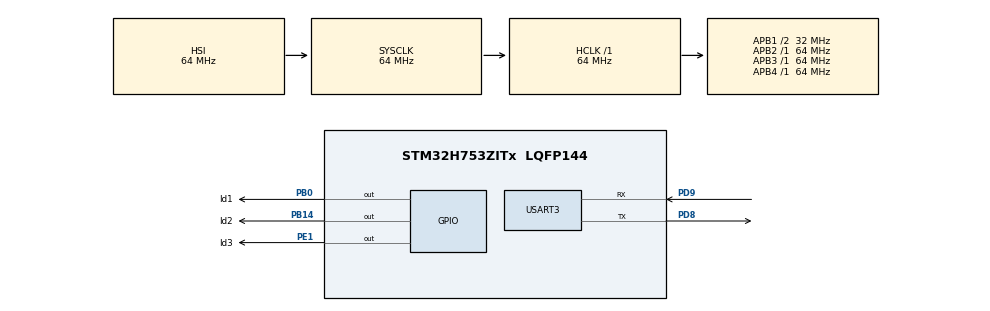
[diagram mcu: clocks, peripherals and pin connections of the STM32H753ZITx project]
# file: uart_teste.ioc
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CORTEX_M7.default_mode_Activation=1
Dma.Request0=USART3_RX
Dma.Request1=USART3_TX
Dma.USART3_RX.0.Direction=DMA_PERIPH_TO_MEMORY
Dma.USART3_RX.0.EventEnable=DISABLE
Dma.USART3_RX.0.FIFOMode=DMA_FIFOMODE_DISABLE
Dma.USART3_RX.0.Instance=DMA1_Stream0
Dma.USART3_RX.0.MemDataAlignment=DMA_MDATAALIGN_BYTE
Dma.USART3_RX.0.MemInc=DMA_MINC_ENABLE
Dma.USART3_RX.0.Mode=DMA_NORMAL
Dma.USART3_RX.0.PeriphDataAlignment=DMA_PDATAALIGN_BYTE
Dma.USART3_RX.0.PeriphInc=DMA_PINC_DISABLE
Dma.USART3_RX.0.Polarity=HAL_DMAMUX_REQ_GEN_RISING
Dma.USART3_RX.0.Priority=DMA_PRIORITY_LOW
Dma.USART3_RX.0.RequestNumber=1
Dma.USART3_RX.0.SignalID=NONE
Dma.USART3_RX.0.SyncEnable=DISABLE
Dma.USART3_RX.0.SyncPolarity=HAL_DMAMUX_SYNC_NO_EVENT
Dma.USART3_RX.0.SyncRequestNumber=1
Dma.USART3_RX.0.SyncSignalID=NONE
Dma.USART3_TX.1.Direction=DMA_MEMORY_TO_PERIPH
Dma.USART3_TX.1.EventEnable=DISABLE
Dma.USART3_TX.1.FIFOMode=DMA_FIFOMODE_DISABLE
Dma.USART3_TX.1.Instance=DMA1_Stream1
Dma.USART3_TX.1.MemDataAlignment=DMA_MDATAALIGN_BYTE
Dma.USART3_TX.1.MemInc=DMA_MINC_ENABLE
Dma.USART3_TX.1.Mode=DMA_NORMAL
Dma.USART3_TX.1.PeriphDataAlignment=DMA_PDATAALIGN_BYTE
Dma.USART3_TX.1.PeriphInc=DMA_PINC_DISABLE
Dma.USART3_TX.1.Polarity=HAL_DMAMUX_REQ_GEN_RISING
Dma.USART3_TX.1.Priority=DMA_PRIORITY_LOW
Dma.USART3_TX.1.RequestNumber=1
Dma.USART3_TX.1.SignalID=NONE
Dma.USART3_TX.1.SyncEnable=DISABLE
Dma.USART3_TX.1.SyncPolarity=HAL_DMAMUX_SYNC_NO_EVENT
Dma.USART3_TX.1.SyncRequestNumber=1
Dma.USART3_TX.1.SyncSignalID=NONE
Mcu.Family=STM32H7
Mcu.Name=STM32H753ZITx
Mcu.Package=LQFP144
NVIC.DMA1_Stream0_IRQn=true\:0\:0\:false\:false\:true\:false\:true\:true
NVIC.DMA1_Stream1_IRQn=true\:0\:0\:false\:false\:true\:false\:true\:true
NVIC.PriorityGroup=NVIC_PRIORITYGROUP_4
NVIC.USART3_IRQn=true\:0\:0\:false\:false\:true\:true\:true\:true
PB0.GPIO_Label=ld1
PB0.Signal=GPIO_Output
PB14.GPIO_Label=ld2
PB14.Signal=GPIO_Output
PD8.Mode=Asynchronous
PD8.Signal=USART3_TX
PD9.Mode=Asynchronous
PD9.Signal=USART3_RX
PE1.GPIO_Label=ld3
PE1.Signal=GPIO_Output
ProjectManager.HeapSize=0x200
ProjectManager.StackSize=0x400
ProjectManager.TargetToolchain=STM32CubeIDE
RCC.ADCFreq_Value=129000000
RCC.APB1Freq_Value=32000000
RCC.APB2Freq_Value=64000000
RCC.APB3Freq_Value=64000000
RCC.APB4Freq_Value=64000000
RCC.CortexFreq_Value=64000000
RCC.D2PPRE1=RCC_APB1_DIV2
RCC.HCLKFreq_Value=64000000
RCC.SYSCLKFreq_VALUE=64000000
RCC.USBFreq_Value=129000000
USART3.VirtualMode-Asynchronous=VM_ASYNC
VP_MEMORYMAP_VS_MEMORYMAP.Mode=CurAppReg
board=custom

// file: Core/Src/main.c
/* USER CODE BEGIN Header */
/**
  ******************************************************************************
  * @file           : main.c
  * @brief          : Main program body
  ******************************************************************************
  * @attention
  *
  * Copyright (c) 2025 STMicroelectronics.
  * All rights reserved.
  *
  * This software is licensed under terms that can be found in the LICENSE file
  * in the root directory of this software component.
  * If no LICENSE file comes with this software, it is provided AS-IS.
  *
  ******************************************************************************
  */
/* USER CODE END Header */
#include "main.h"
#include "dma.h"
#include "memorymap.h"
#include "usart.h"
#include "gpio.h"

/* USER CODE BEGIN Includes */
#include <stdio.h> // Necessário para printf
/* USER CODE END Includes */

/* USER CODE BEGIN PD */
// Tempo de pisca-pisca em milissegundos (meio segundo aceso, meio segundo apagado)
#define BLINK_DELAY_MS 500
/* USER CODE END PD */

/* USER CODE BEGIN PV */
 uint8_t rx_data;
 // Variável de estado para controlar o modo do LED
 volatile uint8_t led_mode = 0; // 0: off, 1: on, 2: blinking
 uint32_t last_blink_time = 0; // Para controle de tempo do pisca-pisca sem bloquear
/* USER CODE END PV */

void SystemClock_Config(void);
static void MPU_Config(void);
/* USER CODE BEGIN PFP */
void Display_Menu(void);
/* USER CODE END PFP */

int main(void)
{

  /* MPU Configuration--------------------------------------------------------*/
  MPU_Config();

  /* MCU Configuration--------------------------------------------------------*/

  /* Reset of all peripherals, Initializes the Flash interface and the Systick. */
  HAL_Init();

  /* Configure the system clock */
  SystemClock_Config();

  /* Initialize all configured peripherals */
  MX_GPIO_Init();
  MX_DMA_Init();
  MX_USART3_UART_Init();
  /* USER CODE BEGIN 2 */
  // Opcional: Acenda ou apague o LED no início para indicar estado inicial
  HAL_GPIO_WritePin(ld2_GPIO_Port, ld2_Pin, GPIO_PIN_RESET); // LED começa apagado
  HAL_GPIO_WritePin(ld3_GPIO_Port, ld3_Pin, GPIO_PIN_RESET); // LED começa apagado
  /* USER CODE END 2 */

  /* Infinite loop */
  while (1)
  {

    /* USER CODE BEGIN 3 */
	    //Display_Menu(); // Exibe o menu a cada iteração do loop principal

	    // Tenta receber entrada do usuário sem bloquear (timeout 100ms)
	    if (HAL_UART_Receive(&huart3, &rx_data, 1, 100) == HAL_OK)
	    {
	      switch (rx_data)
	      {
	        case '1':
	          printf(">> Opcao 1: LED VERMELHO ACESO!\r\n");
	          HAL_GPIO_WritePin(ld2_GPIO_Port, ld2_Pin, GPIO_PIN_SET); // Acende o LED
	          led_mode = 1; // Define o modo LED ON
	          break;

	        case '2':
	          printf(">> Opcao 2: LED VRMELHO APAGADO!\r\n");
	          HAL_GPIO_WritePin(ld2_GPIO_Port, ld2_Pin, GPIO_PIN_RESET); // Apaga o LED
	          led_mode = 0; // Define o modo LED OFF
	          break;

	        case '3':
	          printf(">> Opcao 3: LED VERDE PISCANDO CONTINUAMENTE! Pressione outra tecla para parar.\r\n");
	          led_mode = 2; // Define o modo LED PISCANDO
	          last_blink_time = HAL_GetTick(); // Reseta o timer do pisca-pisca
	          break;

	        case '4':
	        	          printf(">> Opcao 1: LED LARANJA ACESO!\r\n");
	        	          HAL_GPIO_WritePin(ld3_GPIO_Port, ld3_Pin, GPIO_PIN_SET); // Acende o LED
	        	          led_mode = 1; // Define o modo LED ON
	        	          break;

	        	  case '5':
	        	          printf(">> Opcao 2: LED LARANJA APAGADO!\r\n");
	        	          HAL_GPIO_WritePin(ld3_GPIO_Port, ld3_Pin, GPIO_PIN_RESET); // Apaga o LED
	        	          led_mode = 0; // Define o modo LED OFF
	        	          break;

	        	  case '6':
	        	              printf(">> Opcao 6: LED VERDE APAGADO E PISCA-PISCA INTERROMPIDO!\r\n");
	        	              HAL_GPIO_WritePin(ld1_GPIO_Port, ld1_Pin, GPIO_PIN_RESET); // Garante que o LED verde está apagado
	        	              led_mode = 0; // Sai do modo pisca-pisca (define para um valor que não é 2)
	        	              break;

	        default:
	          printf(">> Opcao invalida. Tente novamente.\r\n");
	          // Se uma opção inválida for digitada, certifique-se de que o LED não fique preso em um estado de piscar
	          if (led_mode == 2) {
	             HAL_GPIO_WritePin(ld2_GPIO_Port, ld2_Pin, GPIO_PIN_RESET); // Apaga o LED
	             led_mode = 0; // Sai do modo pisca-pisca
	             printf(">> Modo pisca-pisca interrompido por opcao invalida.\r\n");
	          }
	          break;
	      }
	    }

        // Lógica para piscar o LED se o modo for 2
        if (led_mode == 2) {
            if (HAL_GetTick() - last_blink_time >= BLINK_DELAY_MS) {
                HAL_GPIO_TogglePin(ld1_GPIO_Port, ld1_Pin);// Inverte o estado do LED
                last_blink_time = HAL_GetTick();            // Atualiza o tempo da última piscada
            }
        }

        // O HAL_Delay(500) aqui pode ser removido, pois o HAL_UART_Receive já tem um timeout.
        // Se você mantiver um delay aqui, ele pode afetar a responsividade do sistema.
        // Se desejar um delay geral para exibir o menu com menos frequência, pode usar um timer.
        // HAL_Delay(500);
  }
  /* USER CODE END 3 */
}

void SystemClock_Config(void)
{
  RCC_OscInitTypeDef RCC_OscInitStruct = {0};
  RCC_ClkInitTypeDef RCC_ClkInitStruct = {0};

  /** Supply configuration update enable
  */
  HAL_PWREx_ConfigSupply(PWR_LDO_SUPPLY);

  /** Configure the main internal regulator output voltage
  */
  __HAL_PWR_VOLTAGESCALING_CONFIG(PWR_REGULATOR_VOLTAGE_SCALE3);

  while(!__HAL_PWR_GET_FLAG(PWR_FLAG_VOSRDY)) {}

  /** Initializes the RCC Oscillators according to the specified parameters
  * in the RCC_OscInitTypeDef structure.
  */
  RCC_OscInitStruct.OscillatorType = RCC_OSCILLATORTYPE_HSI;
  RCC_OscInitStruct.HSIState = RCC_HSI_DIV1;
  RCC_OscInitStruct.HSICalibrationValue = RCC_HSICALIBRATION_DEFAULT;
  RCC_OscInitStruct.PLL.PLLState = RCC_PLL_NONE;
  if (HAL_RCC_OscConfig(&RCC_OscInitStruct) != HAL_OK)
  {
    Error_Handler();
  }

  /** Initializes the CPU, AHB and APB buses clocks
  */
  RCC_ClkInitStruct.ClockType = RCC_CLOCKTYPE_HCLK|RCC_CLOCKTYPE_SYSCLK
                              |RCC_CLOCKTYPE_PCLK1|RCC_CLOCKTYPE_PCLK2
                              |RCC_CLOCKTYPE_D3PCLK1|RCC_CLOCKTYPE_D1PCLK1;
  RCC_ClkInitStruct.SYSCLKSource = RCC_SYSCLKSOURCE_HSI;
  RCC_ClkInitStruct.SYSCLKDivider = RCC_SYSCLK_DIV1;
  RCC_ClkInitStruct.AHBCLKDivider = RCC_HCLK_DIV1;
  RCC_ClkInitStruct.APB3CLKDivider = RCC_APB3_DIV1;
  RCC_ClkInitStruct.APB1CLKDivider = RCC_APB1_DIV2;
  RCC_ClkInitStruct.APB2CLKDivider = RCC_APB2_DIV1;
  RCC_ClkInitStruct.APB4CLKDivider = RCC_APB4_DIV1;

  if (HAL_RCC_ClockConfig(&RCC_ClkInitStruct, FLASH_LATENCY_1) != HAL_OK)
  {
    Error_Handler();
  }
}

/* USER CODE BEGIN 4 */
/**
  * @brief Exibe o menu de opções via UART.
  * @retval None
  */
void Display_Menu(void) {
    printf("\r\n"); // Nova linha para melhor formatação
    printf("===== CONTROLE DE PWM E LED =====\r\n");
    printf("[1] Acender LED Verde (PA5)\r\n");
    printf("[2] Apagar LED Verde (PA5)\r\n");
    printf("[3] Piscar LED Verde Continuamente (PA5)\r\n"); // Texto atualizado
    printf("[4] +10%% por clique no botao (A implementar)\r\n");
    printf("Selecione a opcao: \r\n");
}

/* USER CODE END 4 */

 /* MPU Configuration */

void MPU_Config(void)
{
  MPU_Region_InitTypeDef MPU_InitStruct = {0};

  /* Disables the MPU */
  HAL_MPU_Disable();

  /** Initializes and configures the Region and the memory to be protected
  */
  MPU_InitStruct.Enable = MPU_REGION_ENABLE;
  MPU_InitStruct.Number = MPU_REGION_NUMBER0;
  MPU_InitStruct.BaseAddress = 0x0;
  MPU_InitStruct.Size = MPU_REGION_SIZE_4GB;
  MPU_InitStruct.SubRegionDisable = 0x87;
  MPU_InitStruct.TypeExtField = MPU_TEX_LEVEL0;
  MPU_InitStruct.AccessPermission = MPU_REGION_NO_ACCESS;
  MPU_InitStruct.DisableExec = MPU_INSTRUCTION_ACCESS_DISABLE;
  MPU_InitStruct.IsShareable = MPU_ACCESS_SHAREABLE;
  MPU_InitStruct.IsCacheable = MPU_ACCESS_NOT_CACHEABLE;
  MPU_InitStruct.IsBufferable = MPU_ACCESS_NOT_BUFFERABLE;

  HAL_MPU_ConfigRegion(&MPU_InitStruct);
  /* Enables the MPU */
  HAL_MPU_Enable(MPU_PRIVILEGED_DEFAULT);

}

void Error_Handler(void)
{
  __disable_irq();
  while (1)
  {
  }
}
